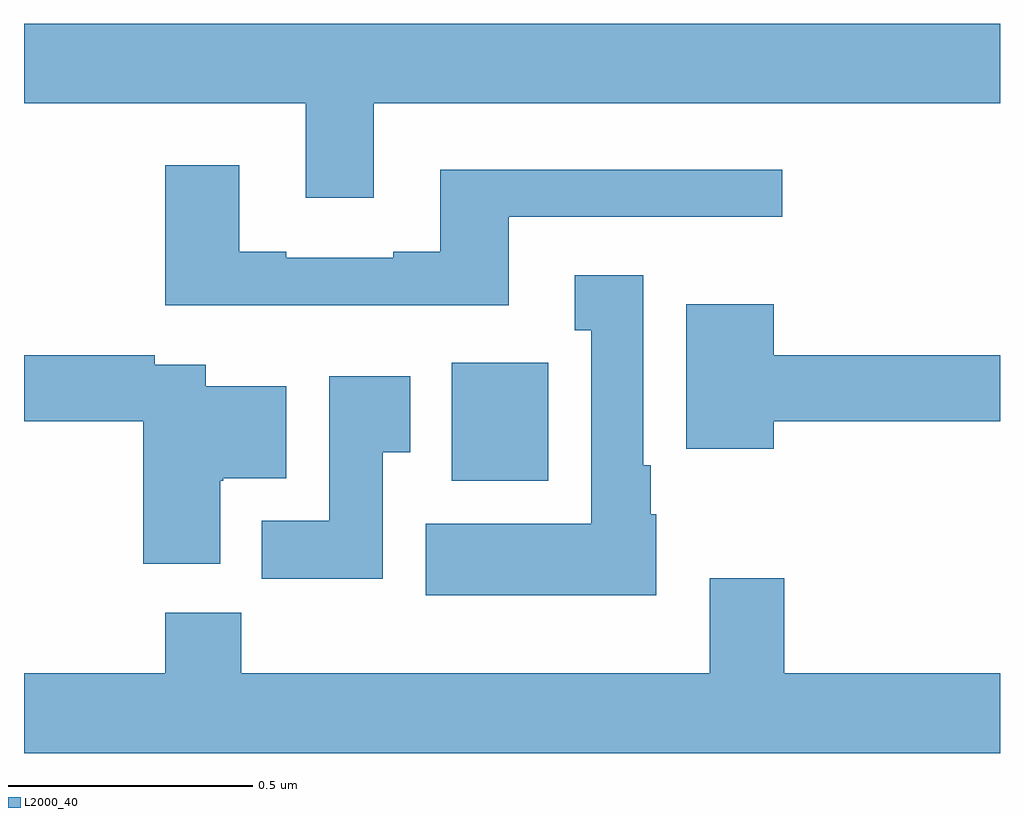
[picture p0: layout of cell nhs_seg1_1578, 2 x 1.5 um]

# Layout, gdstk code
import gdstk
lib = gdstk.Library(unit=1e-6, precision=1e-09)
def R(c, l, rs):  # rectangles x0, y0, x1, y1
    for r in rs: c.add(gdstk.rectangle(r[:2], r[2:], *l))
def P(c, l, *ps):  # polygons
    for p in ps: c.add(gdstk.Polygon(p, *l))
L2000_40 = (2000, 40)

nhs_seg1_1578 = lib.new_cell('nhs_seg1_1578')
R(nhs_seg1_1578, L2000_40, [(130.877,580.262,131.074,580.504)])
P(nhs_seg1_1578, L2000_40, [(130.717,581.036),(132,581.036),(132,581.199),(130,581.199),(130,581.036),(130.577,581.036),(130.577,580.842),(130.717,580.842)],
  [(130.993,580.803),(131.554,580.803),(131.554,580.9),(130.853,580.9),(130.853,580.732),(130.757,580.732),(130.757,580.719),(130.537,580.719),(130.537,580.732),(130.441,580.732),(130.441,580.909),(130.289,580.909),(130.289,580.622),(130.993,580.622)],
  [(131.296,580.194),(131.284,580.194),(131.284,580.294),(131.269,580.294),(131.269,580.684),(131.129,580.684),(131.129,580.571),(131.162,580.571),(131.162,580.174),(130.823,580.174),(130.823,580.028),(131.296,580.028)],
  [(131.536,580.384),(132,580.384),(132,580.52),(131.536,580.52),(131.536,580.624),(131.357,580.624),(131.357,580.328),(131.536,580.328)],
  [(130.402,580.262),(130.408,580.262),(130.408,580.268),(130.537,580.268),(130.537,580.456),(130.372,580.456),(130.372,580.5),(130.268,580.5),(130.268,580.52),(130,580.52),(130,580.384),(130.244,580.384),(130.244,580.092),(130.402,580.092)],
  [(130.735,580.321),(130.792,580.321),(130.792,580.477),(130.625,580.477),(130.625,580.18),(130.487,580.18),(130.487,580.062),(130.735,580.062)],
  [(132,579.868),(131.558,579.868),(131.558,580.063),(131.405,580.063),(131.405,579.868),(130.445,579.868),(130.445,579.992),(130.289,579.992),(130.289,579.868),(130,579.868),(130,579.704),(132,579.704)])

lib.write_gds('nhs_seg1_1578.gds')
